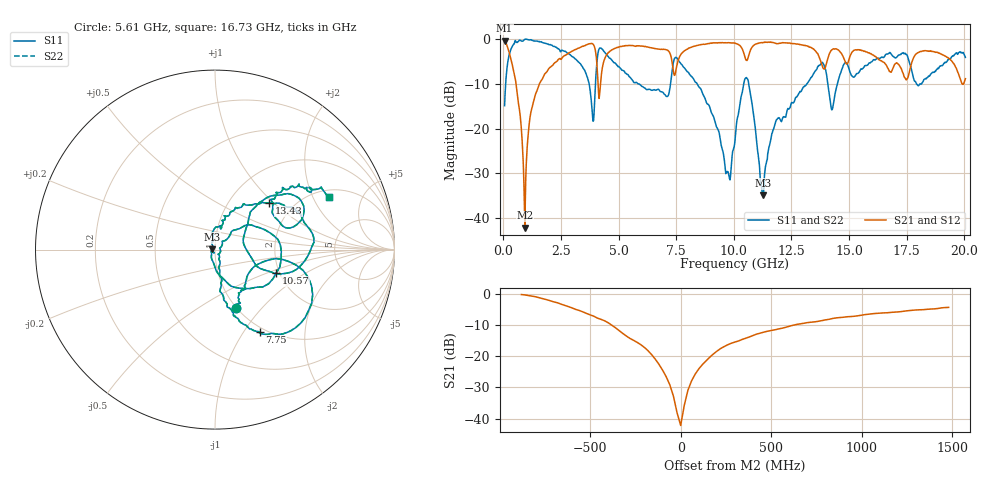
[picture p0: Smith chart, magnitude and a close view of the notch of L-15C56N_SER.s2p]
#	mhz	s	ma	r	50
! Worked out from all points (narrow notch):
!   1001 points, 50 MHz to 20.05 GHz, reference 50 ohm
!   highest |S21| = -0.26 dB at 50 MHz (marker M1); lowest = -42.2 dB at 930 MHz (marker M2)
!   notch at M2: 39.6 dB deep, 248 MHz wide at half that depth
!   lowest |S11| = -34.9 dB at 11.25 GHz (marker M3), VSWR 1.04, Z = 48.3 + j0.182 ohm
!   |S11| at or under -10 dB: 5.9 GHz to 7.252 GHz (1.352 GHz wide, 20.6 % of centre); 8.415 GHz to 10.43 GHz (2.011 GHz wide, 21.4 % of centre); 10.65 GHz to 13.16 GHz (2.518 GHz wide, 21.1 % of centre) (the widest 3 of 8)
!   |S22| runs from -34.9 to 0.1 dB; largest |S21 - S12| = 0
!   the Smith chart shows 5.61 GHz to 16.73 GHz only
!   S11 on the Smith chart (normalised r, x): 5.61 GHz: 1.00, -0.74; 7.75 GHz: 0.94, -1.18; 10.57 GHz: 1.92, -0.58; 13.43 GHz: 1.51, +0.94; 16.73 GHz: 2.34, +2.67
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50  0.1808 76.7  0.9707 -9.7  0.9707 -9.7  0.1808 76.7
550  0.9361 17.6  0.3125 -69.2  0.3125 -69.2  0.9361 17.6
930  0.9998 -6.7  0.00777 5.0  0.00777 5.0  0.9998 -6.7
1550  0.9522 -23.7  0.3126 66.3  0.3126 66.3  0.9522 -23.7
3390  0.5093 -62.5  0.8254 23.6  0.8254 23.6  0.5093 -62.5
3870  0.135 -49.1  0.8948 -2.9  0.8948 -2.9  0.135 -49.1
4190  0.8026 -19.9  0.2716 27.9  0.2716 27.9  0.8026 -19.9
5610  0.3465 -70.0  0.8555 6.5  0.8555 6.5  0.3465 -70.0
6730  0.2763 -52.8  0.7801 -5.3  0.7801 -5.3  0.2763 -52.8
7750  0.5208 -61.6  0.7044 12.4  0.7044 12.4  0.5208 -61.6
9750  0.03286 -19.8  0.9206 -15.1  0.9206 -15.1  0.03286 -19.8
10050  0.07354 42.2  0.9099 -20.5  0.9099 -20.5  0.07354 42.2
10570  0.3653 -20.8  0.5814 -14.2  0.5814 -14.2  0.3653 -20.8
11250  0.01789 174.0  0.9166 -16.9  0.9166 -16.9  0.01789 174.0
11830  0.1231 88.9  0.9012 -25.4  0.9012 -25.4  0.1231 88.9
13390  0.3837 42.8  0.8023 -47.3  0.8023 -47.3  0.3837 42.8
13430  0.3988 40.8  0.7881 -48.0  0.7881 -48.0  0.3988 40.8
14270  0.1641 16.8  0.7696 -29.8  0.7696 -29.8  0.1641 16.8
14810  0.5423 32.9  0.5831 -46.7  0.5831 -46.7  0.5423 32.9
16730  0.6986 24.7  0.4513 -51.3  0.4513 -51.3  0.6986 24.7
17990  0.3046 5.9  0.712 -25.7  0.712 -25.7  0.3046 5.9
20050  0.6296 -25.3  0.3634 -36.3  0.3634 -36.3  0.6296 -25.3
